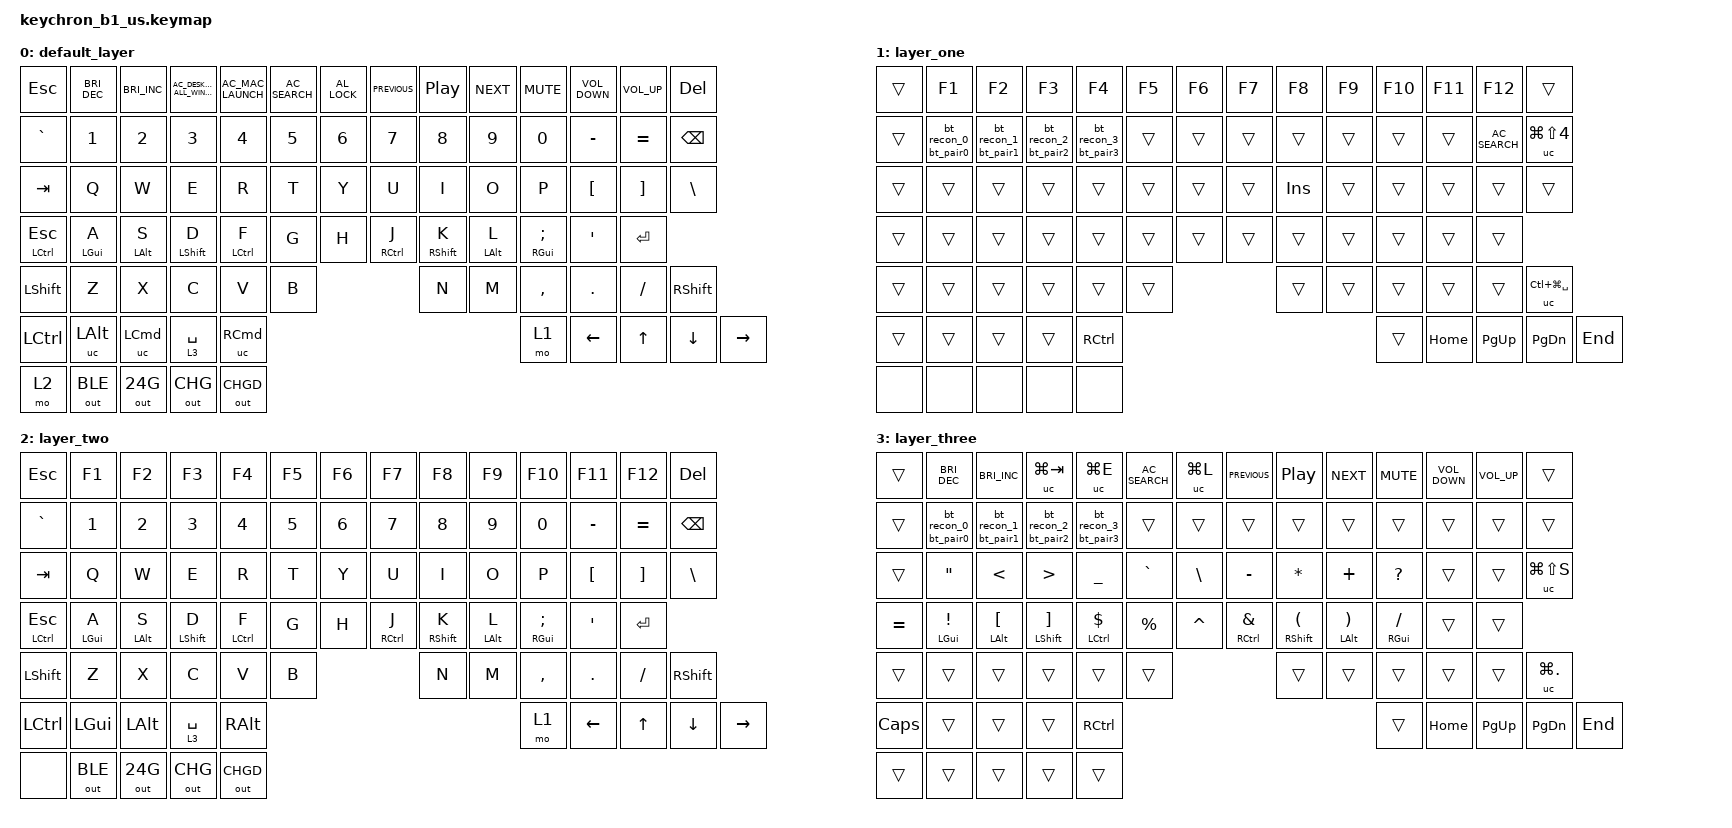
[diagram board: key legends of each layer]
/*
 * Copyright (c) 2023 The ZMK Contributors
 *
 * SPDX-License-Identifier: MIT
 */

#include <behaviors.dtsi>
#include <dt-bindings/zmk/keys.h>
#include <dt-bindings/zmk/rgb.h>
#include <dt-bindings/zmk/bt.h>
#include <dt-bindings/zmk/outputs.h>

/ {
    ZMK_MACRO(recover, bindings = <&out OUT_RECOVER>;)
    ZMK_MACRO(change, bindings = <&out OUT_FN>;)
    ZMK_MACRO(fn_win, bindings = <&out OUT_FN_WIN>;)

    ZMK_MACRO(en_bootloader, bindings = <&bootloader>;)
    ZMK_MACRO1(MA,bindings=<&kp 0x770000>;)

    long_press_recover:l1 {
        compatible = "zmk,behavior-hold-tap";
        label = "l1";
        #binding-cells = <2>;
        flavor = "tap-preferred";
        tapping-term-ms = <3000>;  // delay amount in ms
        bindings = <&recover>, <&none>;
    };

    long_press_change:l2{
        compatible = "zmk,behavior-hold-tap";
        label = "lp_change";
        #binding-cells = <2>;
        flavor = "tap-preferred";
        tapping-term-ms = <3000>;  // delay amount in ms
        bindings = <&change>, <&none>;
    };
    long_press_bootloader:l3{
        compatible = "zmk,behavior-hold-tap";
        label = "lp_bootloader";
        #binding-cells = <2>;
        flavor = "tap-preferred";
        tapping-term-ms = <3000>;  // delay amount in ms
        bindings = <&en_bootloader>, <&none>;
    };
    long_press_fn_win:l4{
        compatible = "zmk,behavior-hold-tap";
        label = "lp_fn_win";
        #binding-cells = <2>;
        flavor = "tap-preferred";
        tapping-term-ms = <3000>;   
        bindings = <&fn_win>, <&none>;
    };
   
    // Timeless homerow mods - Left hand (GASC: GUI, ALT, SHIFT, CTRL)
    hml: homerow_mods_left {
        compatible = "zmk,behavior-hold-tap";
        label = "HOMEROW_MODS_LEFT";
        #binding-cells = <2>;
        bindings = <&kp>, <&kp>;
        flavor = "balanced";
        tapping-term-ms = <280>;
        quick-tap-ms = <175>;
        require-prior-idle-ms = <150>;
        hold-trigger-key-positions = <6 7 8 9 10 11 12 13 20 21 22 23 24 25 26 27 34 35 36 37 38 39 40 41 48 49 50 51 52 53 54 61 62 63 64 65 66 70 71 72 73 74 75 76>;
        hold-trigger-on-release;
    };

    // Timeless homerow mods - Right hand (GASC: CTRL, SHIFT, ALT, GUI)
    hmr: homerow_mods_right {
        compatible = "zmk,behavior-hold-tap";
        label = "HOMEROW_MODS_RIGHT";
        #binding-cells = <2>;
        bindings = <&kp>, <&kp>;
        flavor = "balanced";
        tapping-term-ms = <280>;
        quick-tap-ms = <175>;
        require-prior-idle-ms = <150>;
        hold-trigger-key-positions = <0 1 2 3 4 5 14 15 16 17 18 19 28 29 30 31 32 33 42 43 44 45 46 47 55 56 57 58 59 60 67 68 69>;
        hold-trigger-on-release;
    };

    // Space layer-tap: tap = space, hold = layer 3
    spc_layer: space_layer {
        compatible = "zmk,behavior-hold-tap";
        label = "SPACE_LAYER";
        #binding-cells = <2>;
        bindings = <&mo>, <&kp>;
        flavor = "tap-preferred";
        tapping-term-ms = <200>;
        quick-tap-ms = <200>;
    };

    combos1 {
        compatible = "zmk,combos";
        combo_jz {
            timeout-ms = <50>;
            require-prior-idle-ms = <125>;
            layers = <1 3>;
            key-positions = <49 56>; //fn+j+z
            bindings = <&long_press_recover 0 0>;
        };
        combo_xl {
            timeout-ms = <50>;
            require-prior-idle-ms = <125>;
            layers = <1 3>;
            key-positions = <57 51>; //fn+x+l
            bindings = <&long_press_change 0 0>;
        };
        combo_b {
            timeout-ms = <50>;
            require-prior-idle-ms = <125>;
            layers = <1 3>;
            key-positions = <60>; //fn+b
            bindings = <&out OUT_BAT>;
        };

        combo_win_l {
            timeout-ms = <50>;
            require-prior-idle-ms = <125>;
            layers = <1 3>;
            key-positions = <68>; //fn+win
            bindings = <&long_press_fn_win 0 0>;
        };

        combo_t0 {
            timeout-ms = <40>;
            require-prior-idle-ms = <125>;
            layers = <4>;
            key-positions = <80 90>;  
            bindings = <&to 3>;
        };
        combo_t1 {
            timeout-ms = <40>;
            require-prior-idle-ms = <125>;
            layers = <4>;
            key-positions = <80 91>;  
            bindings = <&tog 3>;
        };
        combo_t2 {
            timeout-ms = <40>;
            require-prior-idle-ms = <125>;
            layers = <4>;
            key-positions = <80 92>;  
            bindings = <&sl 3>;
        };
        combo_t3 {
            timeout-ms = <40>;
            require-prior-idle-ms = <125>;
            layers = <4>;
            key-positions = <70 93>;  
            bindings = <&lt 3 SPACE>;
        };
        combo_t4 {
            timeout-ms = <40>;
            require-prior-idle-ms = <125>;
            layers = <4>;
            key-positions = <81 94>;  
            bindings = <&sk LSHIFT>;
        };
        combo_t5 {
            timeout-ms = <40>;
            require-prior-idle-ms = <125>;
            layers = <4>;
            key-positions = <81 93>;  
            bindings = <&mt LSHIFT SPACE>;
        };
        combo_t6 {
            timeout-ms = <40>;
            require-prior-idle-ms = <125>;
            layers = <4>;
            key-positions = <81 93>;  
            bindings = <&gresc>;
        };
    };

    td0 {
        compatible = "zmk,behavior-tap-dance";
        label = "TAPD_LAYER";
        #binding-cells = <1>;
        tapping-term-ms = <350>;
        bindings =<&mo 0>,<&mo 0>,<&mo 0>,<&mo 0>,<&to 0>;
    };
    ZMK_MACRO(bt_pair0, bindings = <&bt BT_PAIR 0>;)
    ZMK_MACRO(bt_pair1, bindings = <&bt BT_PAIR 1>;)
    ZMK_MACRO(bt_pair2, bindings = <&bt BT_PAIR 2>;)
    ZMK_MACRO(bt_pair3, bindings = <&bt BT_PAIR 3>;)
    ZMK_MACRO(bt_recon_0, bindings = <&bt BT_SEL 0>;)
    ZMK_MACRO(bt_recon_1, bindings = <&bt BT_SEL 1>;)
    ZMK_MACRO(bt_recon_2, bindings = <&bt BT_SEL 2>;)
    ZMK_MACRO(bt_recon_3, bindings = <&bt BT_SEL 3>;)
    


    bt_pair_0: bt_pair_0 {
        compatible = "zmk,behavior-hold-tap";
        label = "bt_pair0";
        #binding-cells = <2>;
        flavor = "tap-preferred";
        tapping-term-ms = <3000>;  // delay amount in ms
        bindings = <&bt_pair0>, <&bt_recon_0>;
    };
    bt_pair_1: bt_pair_1 {
        compatible = "zmk,behavior-hold-tap";
        label = "bt_pair1";
        #binding-cells = <2>;
        flavor = "tap-preferred";
        tapping-term-ms = <3000>;  // delay amount in ms
        bindings = <&bt_pair1>, <&bt_recon_1>;
    };
    bt_pair_2: bt_pair_2 {
        compatible = "zmk,behavior-hold-tap";
        label = "bt_pair2";
        #binding-cells = <2>;
        flavor = "tap-preferred";
        tapping-term-ms = <3000>;  // delay amount in ms
        bindings = <&bt_pair2>, <&bt_recon_2>;
    };
    bt_pair_3: bt_pair_3 {
        compatible = "zmk,behavior-hold-tap";
        label = "bt_pair3";
        #binding-cells = <2>;
        flavor = "tap-preferred";
        tapping-term-ms = <3000>;  // delay amount in ms
        bindings = <&bt_pair3>, <&bt_recon_3>;
    };
    uc:user_custom {
        compatible = "zmk,behavior-key-press";
        label ="user_custom";
        #binding-cells =<1>;
    };

	keymap {
    	compatible = "zmk,keymap";
            //mac
        default_layer {
        bindings = <
          //ESC         //f1                    //f2                //f3                                    //f4                //f5                //f6            //f7            //f8                //f9        //f10       //f11               //f12               //DEL                                              
        &kp ESC     &kp C_BRIGHTNESS_DEC    &kp C_BRIGHTNESS_INC    &kp C_AC_DESKTOP_SHOW_ALL_WINDOWS   &kp  C_AC_MAC_LAUNCH    &kp C_AC_SEARCH     &kp C_AL_LOCK   &kp C_PREVIOUS  &kp C_PLAY_PAUSE    &kp C_NEXT  &kp C_MUTE  &kp C_VOLUME_DOWN   &kp C_VOLUME_UP     &kp DEL  
        &kp GRAVE   &kp N1                  &kp N2                  &kp N3                              &kp N4                  &kp N5              &kp N6          &kp N7          &kp N8              &kp N9      &kp N0      &kp MINUS           &kp EQUAL           &kp BSPC 
        &kp TAB     &kp Q                   &kp W                   &kp E                               &kp R                   &kp T               &kp Y           &kp U           &kp I               &kp O       &kp P       &kp LBKT            &kp RBKT            &kp BSLH     
        &mt LCTRL ESC    &hml LGUI A    &hml LALT S    &hml LSHFT D    &hml LCTRL F    &kp G    &kp H    &hmr RCTRL J    &hmr RSHFT K    &hmr LALT L    &hmr RGUI SEMI    &kp SQT    &kp RET                                         
        &kp LSHFT   &kp Z                   &kp X                   &kp C                               &kp V                   &kp B               &kp N           &kp M           &kp COMMA           &kp DOT     &kp FSLH                                    &kp RSHFT 
        &kp LCTRL   &uc LALT                &uc LCMD                       &spc_layer 3 SPACE                                                                                                &uc RCMD            &mo 1       &kp LEFT    &kp UP              &kp DOWN            &kp RIGHT   
        &mo 2       &out OUT_BLE            &out OUT_24G            &out OUT_CHG                        &out OUT_CHGD 
            >;
        };
        //mac
        layer_one  {
        bindings = < 
        &trans      &kp F1                  &kp F2                  &kp F3                              &kp F4                  &kp F5              &kp F6          &kp F7          &kp F8              &kp F9      &kp F10     &kp F11             &kp F12             &trans    
        &trans      &bt_pair_0 0 0          &bt_pair_1 0 0          &bt_pair_2 0 0                      &bt_pair_3 0 0          &trans              &trans          &trans          &trans              &trans      &trans      &trans              &kp C_AC_SEARCH     &uc LG(LS(N4))      
        &trans      &trans                  &trans                  &trans                              &trans                  &trans              &trans          &trans          &kp INS             &trans      &trans      &trans              &trans              &trans
        &trans      &trans                  &trans                  &trans                              &trans                  &trans              &trans          &trans          &trans              &trans      &trans      &trans                      &trans                  
        &trans      &trans                  &trans                  &trans                              &trans                  &trans              &trans          &trans          &trans              &trans      &trans                                  &uc LC(LG(SPACE))
        &trans      &trans                  &trans                         &trans                                                                                                   &kp RCTRL           &trans        &kp HOME   &kp PG_UP   &kp PG_DN    &kp END  
        //
        &none       &none                   &none                   &none                               &none
            >;
        };
        //win
        layer_two {
 		bindings = <
        &kp ESC 	&kp F1 	               &kp F2 	                &kp F3 	                            &kp F4 	                &kp F5 	            &kp F6 	        &kp F7 	        &kp F8 	            &kp F9 	     &kp F10 	&kp F11 	         &kp F12 	         &kp DEL     
        &kp GRAVE	&kp N1 	               &kp N2 	                &kp N3 	                            &kp N4 	                &kp N5 	            &kp N6 	        &kp N7 	        &kp N8 	            &kp N9 	     &kp N0     &kp MINUS 	         &kp EQUAL 	         &kp BSPC
        &kp TAB 	&kp Q 	               &kp W                    &kp E 	                            &kp R 	                &kp T               &kp Y 	        &kp U 	        &kp I 	            &kp O 	     &kp P 		&kp LBKT 	         &kp RBKT 	         &kp BSLH	
        &mt LCTRL ESC    &hml LGUI A    &hml LALT S    &hml LSHFT D    &hml LCTRL F    &kp G    &kp H    &hmr RCTRL J    &hmr RSHFT K    &hmr LALT L    &hmr RGUI SEMI    &kp SQT    &kp RET
        &kp LSHFT   &kp Z 	               &kp X 	                &kp C 	                            &kp V 	                &kp B 	            &kp N 	        &kp M 	        &kp COMMA           &kp DOT      &kp FSLH                                &kp RSHFT				
        &kp LCTRL 	&kp LGUI               &kp LALT                      &lt 3 SPACE              		                                                                            &kp RALT 	        &mo 1 		  &kp LEFT 	 &kp UP      &kp DOWN 	&kp RIGHT 	
        //
        &none       &out OUT_BLE           &out OUT_24G             &out OUT_CHG                        &out OUT_CHGD 
            >;
        };
        // Symbol/Number Layer (Space hold)
        layer_three {
        bindings = < 
        // F-row: keep function keys
        &trans  &kp C_BRIGHTNESS_DEC    &kp C_BRIGHTNESS_INC        &uc LG(TAB)                         &uc LG(E)               &kp C_AC_SEARCH     &uc LG(L)       &kp C_PREVIOUS  &kp C_PLAY_PAUSE    &kp C_NEXT  &kp C_MUTE  &kp C_VOLUME_DOWN           &kp C_VOLUME_UP      &trans   
        // Number row: keep as is
        &trans      &bt_pair_0 0 0              &bt_pair_1 0 0                  &bt_pair_2 0 0                              &bt_pair_3 0 0                  &trans              &trans          &trans          &trans              &trans      &trans      &trans              &trans              &trans
        // QWERTY row: symbols
        &trans      &kp DQT             &kp LT                &kp GT                            &kp UNDER               &kp GRAVE           &kp BSLH        &kp MINUS       &kp ASTERISK            &kp PLUS    &kp QUESTION    &trans              &trans              &uc LG(LS(S))
        // Home row: numbers 1-0 with home row mods still active
        &kp EQUAL   &hml LGUI EXCL        &hml LALT LBKT            &hml LSHFT RBKT                       &hml LCTRL DLLR           &kp PRCNT              &kp CARET          &hmr RCTRL AMPS   &hmr RSHFT LPAR       &hmr LALT RPAR    &hmr RGUI FSLH    &trans             &trans
        // Bottom row: single quote on Z, rest transparent
        &trans      &trans             &trans                  &trans                              &trans                  &trans              &trans          &trans          &trans              &trans      &trans                              &uc LG(DOT)
        // Control row: transparent (space will be held to access this layer)
        &kp CLCK      &trans              &trans                      &trans                                                                                                      &kp RCTRL              &trans      &kp HOME      &kp PG_UP          &kp PG_DN          &kp END
        //
        &trans      &trans              &trans                  &trans                              &trans
            >;
        };
   

    	
    
	};
};

	
